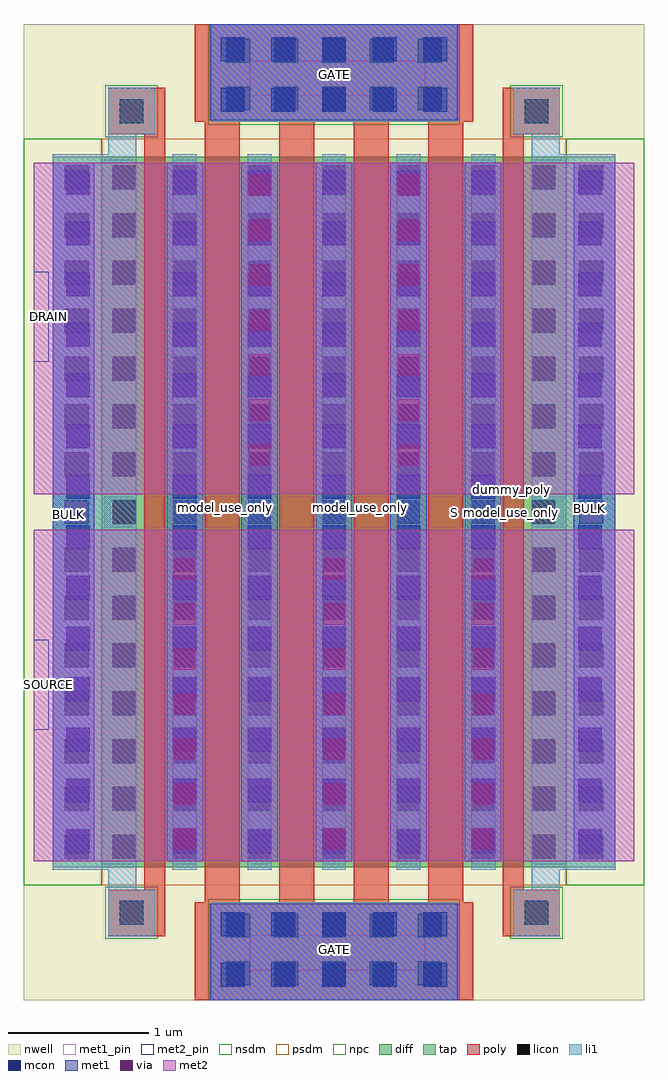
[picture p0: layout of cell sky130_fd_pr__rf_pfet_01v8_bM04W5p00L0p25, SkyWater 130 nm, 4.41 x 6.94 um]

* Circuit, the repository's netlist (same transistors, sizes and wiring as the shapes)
* Copyright 2020 The SkyWater PDK Authors
*
* Licensed under the Apache License, Version 2.0 (the "License");
* you may not use this file except in compliance with the License.
* You may obtain a copy of the License at
*
*     https://www.apache.org/licenses/LICENSE-2.0
*
* Unless required by applicable law or agreed to in writing, software
* distributed under the License is distributed on an "AS IS" BASIS,
* WITHOUT WARRANTIES OR CONDITIONS OF ANY KIND, either express or implied.
* See the License for the specific language governing permissions and
* limitations under the License.
*
* SPDX-License-Identifier: Apache-2.0


.subckt sky130_fd_pr__rf_pfet_01v8_bM04W5p00L0p25 BULK DRAIN GATE SOURCE
X0 SOURCE BULK BULK BULK sky130_fd_pr__pfet_01v8 w=5.05e+06u l=150000u
X1 SOURCE GATE DRAIN BULK sky130_fd_pr__pfet_01v8 w=5.05e+06u l=250000u
X2 SOURCE GATE DRAIN BULK sky130_fd_pr__pfet_01v8 w=5.05e+06u l=250000u
X3 DRAIN GATE SOURCE BULK sky130_fd_pr__pfet_01v8 w=5.05e+06u l=250000u
X4 BULK BULK SOURCE BULK sky130_fd_pr__pfet_01v8 w=5.05e+06u l=150000u
X5 DRAIN GATE SOURCE BULK sky130_fd_pr__pfet_01v8 w=5.05e+06u l=250000u
.ends

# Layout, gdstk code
import gdstk
lib = gdstk.Library(unit=1e-6, precision=1e-09)
def R(c, l, rs):  # rectangles x0, y0, x1, y1
    for r in rs: c.add(gdstk.rectangle(r[:2], r[2:], *l))
def A(c, l, x, y, w, h, nx, ny, dx, dy):  # array of equal rectangles
    R(c, l, [(x+i*dx, y+j*dy, x+i*dx+w, y+j*dy+h) for i in range(nx) for j in range(ny)])
nwell = (64, 20)
diff = (65, 20)
tap = (65, 44)
poly = (66, 20)
licon = (66, 44)
li1 = (67, 20)
mcon = (67, 44)
met1_pin = (68, 16)
met1 = (68, 20)
via = (68, 44)
met2_pin = (69, 16)
met2 = (69, 20)
nsdm = (93, 44)
psdm = (94, 20)
npc = (95, 20)

sky130_fd_pr__rf_pfet_01 = lib.new_cell('sky130_fd_pr__rf_pfet_01v8_bM04W5p00L0p25')
R(sky130_fd_pr__rf_pfet_01, nwell, [(0,0,4.41,6.94)])
R(sky130_fd_pr__rf_pfet_01, diff, [(0.555,0.945,3.855,5.995)])
R(sky130_fd_pr__rf_pfet_01, tap, [(0.205,0.945,0.555,5.995), (3.855,0.945,4.205,5.995)])
A(sky130_fd_pr__rf_pfet_01, poly, 1.285, 0.695, 0.25, 5.55, 4, 1, 0.53, 0)
R(sky130_fd_pr__rf_pfet_01, poly, [(1.215,0,3.195,0.695), (0.6,0.455,0.93,0.785), (0.855,0.455,1.005,6.485), (3.405,0.455,3.555,6.485), (3.48,0.455,3.81,0.785), (0.6,6.155,0.93,6.485), (3.48,6.155,3.81,6.485), (1.215,6.245,3.195,6.94)])
A(sky130_fd_pr__rf_pfet_01, licon, 1.44, 0.105, 0.17, 0.17, 5, 2, 0.34, 0.34)
A(sky130_fd_pr__rf_pfet_01, licon, 0.29, 1.005, 0.17, 0.17, 1, 15, 0, 0.34)
A(sky130_fd_pr__rf_pfet_01, licon, 0.63, 1.005, 0.17, 0.17, 1, 15, 0, 0.34)
A(sky130_fd_pr__rf_pfet_01, licon, 1.06, 1.005, 0.17, 0.17, 5, 15, 0.53, 0.34)
A(sky130_fd_pr__rf_pfet_01, licon, 3.61, 1.005, 0.17, 0.17, 1, 15, 0, 0.34)
A(sky130_fd_pr__rf_pfet_01, licon, 3.95, 1.005, 0.17, 0.17, 1, 15, 0, 0.34)
A(sky130_fd_pr__rf_pfet_01, licon, 1.44, 6.325, 0.17, 0.17, 5, 2, 0.34, 0.34)
R(sky130_fd_pr__rf_pfet_01, licon, [(0.68,0.535,0.85,0.705), (3.56,0.535,3.73,0.705), (0.68,6.235,0.85,6.405), (3.56,6.235,3.73,6.405)])
A(sky130_fd_pr__rf_pfet_01, li1, 1.06, 0.925, 0.17, 5.09, 5, 1, 0.53, 0)
A(sky130_fd_pr__rf_pfet_01, li1, 1.06, 2.125, 0.17, 2.69, 5, 1, 0.53, 0)
R(sky130_fd_pr__rf_pfet_01, li1, [(1.33,0,3.08,0.695), (0.6,0.455,0.93,0.785), (3.48,0.455,3.81,0.785), (0.6,0.785,0.8,0.925), (3.61,0.785,3.81,0.925), (0.205,0.925,0.8,6.015), (3.61,0.925,4.205,6.015), (0.32,1.045,0.49,5.895), (3.92,1.045,4.09,5.895), (0.6,6.015,0.8,6.155), (3.61,6.015,3.81,6.155), (0.6,6.155,0.93,6.485), (3.48,6.155,3.81,6.485), (1.33,6.245,3.08,6.94)])
A(sky130_fd_pr__rf_pfet_01, mcon, 1.4, 0.095, 0.17, 0.17, 5, 2, 0.36, 0.36)
A(sky130_fd_pr__rf_pfet_01, mcon, 0.3, 1.045, 0.17, 0.17, 1, 14, 0, 0.36)
A(sky130_fd_pr__rf_pfet_01, mcon, 1.06, 1.045, 0.17, 0.17, 5, 14, 0.53, 0.36)
A(sky130_fd_pr__rf_pfet_01, mcon, 3.94, 1.045, 0.17, 0.17, 1, 14, 0, 0.36)
A(sky130_fd_pr__rf_pfet_01, mcon, 1.4, 6.315, 0.17, 0.17, 5, 2, 0.36, 0.36)
R(sky130_fd_pr__rf_pfet_01, met1_pin, [(1.605,0.21,2.855,0.46), (0.205,3.375,0.5,3.525), (3.91,3.415,4.205,3.565), (1.605,6.43,2.855,6.68)])
A(sky130_fd_pr__rf_pfet_01, met1, 1.015, 0.985, 0.26, 2.24, 3, 1, 1.06, 0)
A(sky130_fd_pr__rf_pfet_01, met1, 1.015, 0.985, 0.26, 4.97, 5, 1, 0.53, 0)
R(sky130_fd_pr__rf_pfet_01, met1, [(1.32,0,3.09,0.685), (0.205,0.985,0.5,5.955), (3.91,0.985,4.205,5.955), (1.545,3.715,1.805,5.955), (2.605,3.715,2.865,5.955), (1.32,6.255,3.09,6.94)])
A(sky130_fd_pr__rf_pfet_01, via, 1.07, 1.07, 0.15, 0.15, 3, 7, 1.06, 0.32)
A(sky130_fd_pr__rf_pfet_01, via, 1.6, 3.8, 0.15, 0.15, 1, 7, 0, 0.32)
A(sky130_fd_pr__rf_pfet_01, via, 2.66, 3.8, 0.15, 0.15, 1, 7, 0, 0.32)
R(sky130_fd_pr__rf_pfet_01, met2_pin, [(0.07,1.92,0.175,2.56), (0.07,4.54,0.175,5.18)])
A(sky130_fd_pr__rf_pfet_01, met2, 1.015, 0.985, 0.26, 2.24, 3, 1, 1.06, 0)
R(sky130_fd_pr__rf_pfet_01, met2, [(0.07,0.985,4.34,3.345), (0.07,3.595,4.34,5.955), (1.545,3.715,1.805,5.955), (2.605,3.715,2.865,5.955)])
R(sky130_fd_pr__rf_pfet_01, nsdm, [(0,0.815,0.555,6.125), (3.855,0.815,4.41,6.125)])
R(sky130_fd_pr__rf_pfet_01, psdm, [(0.555,0.815,3.855,6.125)])
R(sky130_fd_pr__rf_pfet_01, npc, [(1.31,0,3.1,0.715), (0.58,0.435,0.95,0.805), (3.46,0.435,3.83,0.805), (0.58,6.135,0.95,6.505), (3.46,6.135,3.83,6.505), (1.31,6.225,3.1,6.94)])
sky130_fd_pr__rf_pfet_01.add(gdstk.Label('GATE', (2.205,0.36), layer=68, texttype=5))
sky130_fd_pr__rf_pfet_01.add(gdstk.Label('GATE', (2.205,6.58), layer=68, texttype=5))
sky130_fd_pr__rf_pfet_01.add(gdstk.Label('model_use_only', (1.435,3.505), layer=66, texttype=83))
sky130_fd_pr__rf_pfet_01.add(gdstk.Label('model_use_only', (1.965,3.505), layer=66, texttype=83))
sky130_fd_pr__rf_pfet_01.add(gdstk.Label('model_use_only', (2.395,3.505), layer=66, texttype=83))
sky130_fd_pr__rf_pfet_01.add(gdstk.Label('model_use_only', (2.925,3.505), layer=66, texttype=83))
sky130_fd_pr__rf_pfet_01.add(gdstk.Label('model_use_only', (3.47,3.47), layer=66, texttype=83))
sky130_fd_pr__rf_pfet_01.add(gdstk.Label('model_use_only', (0.915,3.47), layer=66, texttype=83))
sky130_fd_pr__rf_pfet_01.add(gdstk.Label('BULK', (0.315,3.455), layer=68, texttype=16))
sky130_fd_pr__rf_pfet_01.add(gdstk.Label('BULK', (4.02,3.495), layer=68, texttype=16))
sky130_fd_pr__rf_pfet_01.add(gdstk.Label('dummy_poly', (0.92,3.55), layer=83, texttype=44))
sky130_fd_pr__rf_pfet_01.add(gdstk.Label('dummy_poly', (3.465,3.63), layer=83, texttype=44))
sky130_fd_pr__rf_pfet_01.add(gdstk.Label('D', (1.775,3.47), layer=83, texttype=44))
sky130_fd_pr__rf_pfet_01.add(gdstk.Label('S', (1.345,3.47), layer=83, texttype=44))
sky130_fd_pr__rf_pfet_01.add(gdstk.Label('S', (2.635,3.47), layer=83, texttype=44))
sky130_fd_pr__rf_pfet_01.add(gdstk.Label('S', (2.205,3.47), layer=83, texttype=44))
sky130_fd_pr__rf_pfet_01.add(gdstk.Label('S', (1.775,3.47), layer=83, texttype=44))
sky130_fd_pr__rf_pfet_01.add(gdstk.Label('S', (1.345,3.47), layer=83, texttype=44))
sky130_fd_pr__rf_pfet_01.add(gdstk.Label('S', (3.065,3.47), layer=83, texttype=44))
sky130_fd_pr__rf_pfet_01.add(gdstk.Label('D', (2.635,3.47), layer=83, texttype=44))
sky130_fd_pr__rf_pfet_01.add(gdstk.Label('S', (2.205,3.47), layer=83, texttype=44))
sky130_fd_pr__rf_pfet_01.add(gdstk.Label('SOURCE', (0.175,2.24), layer=69, texttype=5))
sky130_fd_pr__rf_pfet_01.add(gdstk.Label('DRAIN', (0.175,4.86), layer=69, texttype=5))

lib.write_gds('sky130_fd_pr__rf_pfet_01v8_bM04W5p00L0p25.gds')
